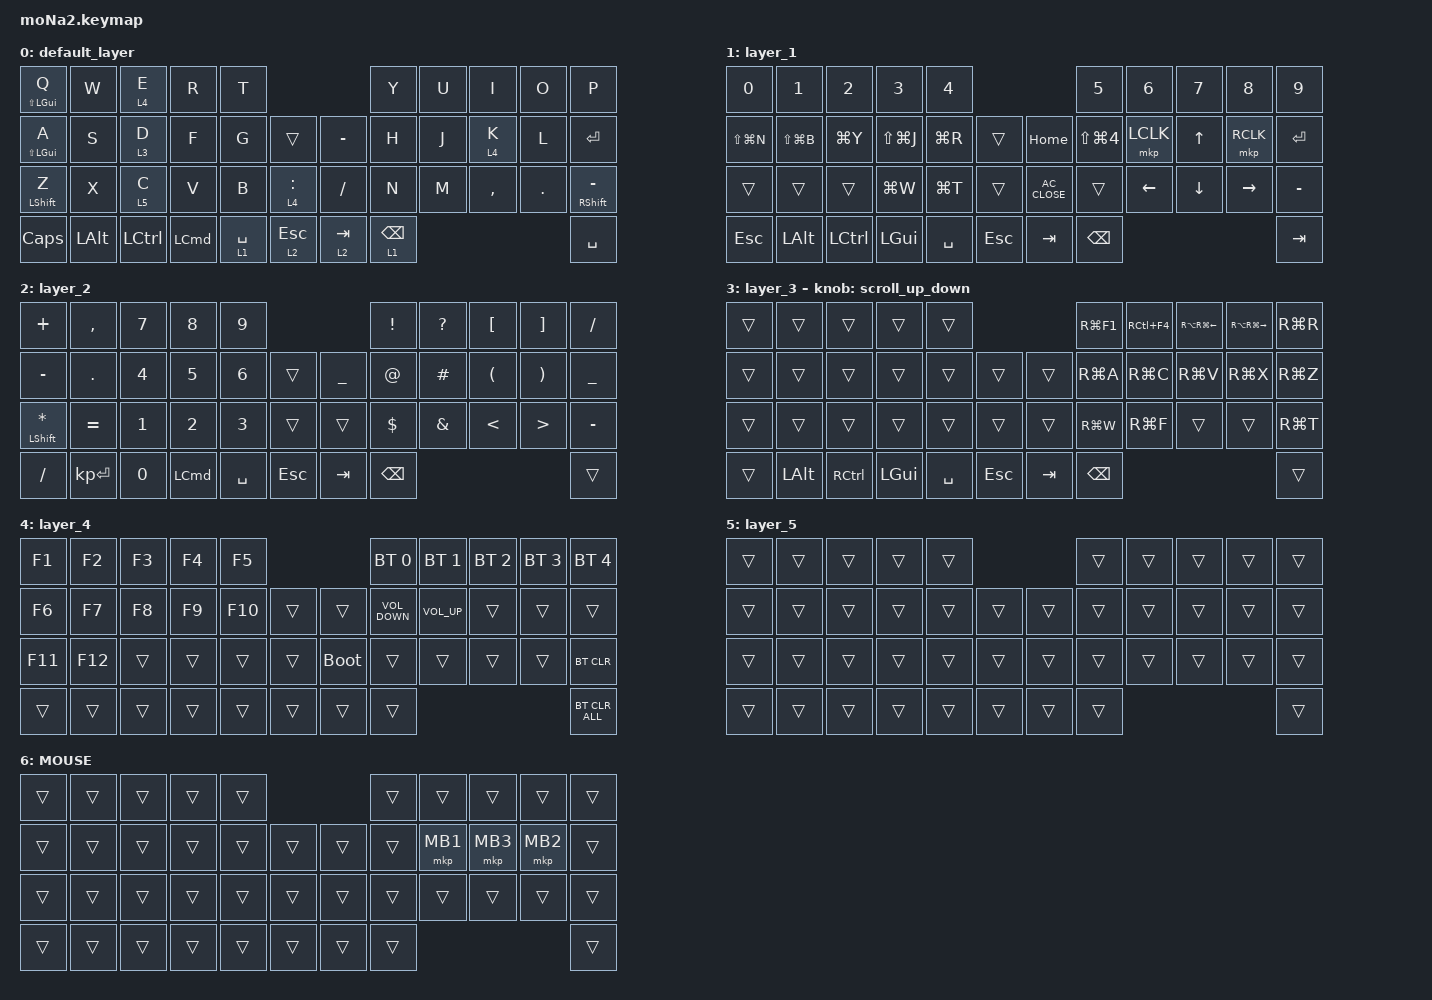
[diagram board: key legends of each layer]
#include <behaviors.dtsi>
#include <dt-bindings/zmk/bt.h>
#include <dt-bindings/zmk/keys.h>
#include <dt-bindings/zmk/pointing.h>

#define ZMK_POINTING_DEFAULT_SCRL_VAL 100
#define MOUSE 6

&mt {
    flavor = "balanced";
    quick-tap-ms = <0>;
};

/ {
    combos { compatible = "zmk,combos"; };

    macros {
        to_layer_0: to_layer_0 {
            compatible = "zmk,behavior-macro-one-param";
            #binding-cells = <1>;
            bindings = <&to 0 &macro_param_1to1 &kp MACRO_PLACEHOLDER>;
            label = "TO_LAYER_0";
        };
    };

    behaviors {
        lt_to_layer_0: lt_to_layer_0 {
            compatible = "zmk,behavior-hold-tap";
            label = "LAYER_TAP_TO_0";
            bindings = <&mo>, <&to_layer_0>;

            #binding-cells = <2>;
            tapping-term-ms = <200>;
        };

        scroll_up_down: behavior_sensor_rotate_mouse_wheel_up_down {
            compatible = "zmk,behavior-sensor-rotate";
            #sensor-binding-cells = <0>;
            bindings = <&msc SCRL_DOWN>, <&msc SCRL_UP>;

            tap-ms = <20>;
        };
    };

    keymap {
        compatible = "zmk,keymap";

        default_layer {
            bindings = <
&mt LS(LEFT_GUI) Q  &kp W         &lt 4 E             &kp R             &kp T                                              &kp Y            &kp U  &kp I               &kp O    &kp P
&mt LS(LEFT_GUI) A  &kp S         &lt_to_layer_0 3 D  &kp F             &kp G        &trans          &kp MINUS             &kp H            &kp J  &lt_to_layer_0 4 K  &kp L    &kp ENTER
&mt LEFT_SHIFT Z    &kp X         &lt_to_layer_0 5 C  &kp V             &kp B        &lt 4 COLON     &kp SLASH             &kp N            &kp M  &kp COMMA           &kp DOT  &mt RIGHT_SHIFT MINUS
&kp CLCK            &kp LEFT_ALT  &kp LEFT_CONTROL    &kp LEFT_COMMAND  &lt 1 SPACE  &lt 2 ESCAPE    &lt_to_layer_0 2 TAB  &lt 1 BACKSPACE                                      &kp SPACE
            >;
        };

        layer_1 {
            bindings = <
&kp NUMBER_0   &kp NUMBER_1   &kp NUMBER_2  &kp NUMBER_3   &kp NUMBER_4                                &kp NUMBER_5          &kp NUMBER_6  &kp NUMBER_7  &kp NUMBER_8  &kp NUMBER_9
&kp LS(LG(N))  &kp LS(LG(B))  &kp LG(Y)     &kp LS(LG(J))  &kp LG(R)     &trans        &kp HOME        &kp LS(LG(NUMBER_4))  &mkp LCLK     &kp UP        &mkp RCLK     &kp ENTER
&trans         &trans         &trans        &kp LG(W)      &kp LG(T)     &trans        &kp C_AC_CLOSE  &trans                &kp LEFT      &kp DOWN      &kp RIGHT     &kp MINUS
&kp ESC        &kp LEFT_ALT   &kp LCTRL     &kp LEFT_GUI   &kp SPACE     &kp ESCAPE    &kp TAB         &kp BACKSPACE                                                   &kp TAB
            >;
        };

        layer_2 {
            bindings = <
&kp PLUS                 &kp COMMA     &kp N7  &kp N8            &kp N9                                   &kp EXCLAMATION  &kp QUESTION   &kp LEFT_BRACKET      &kp RIGHT_BRACKET      &kp SLASH
&kp MINUS                &kp DOT       &kp N4  &kp N5            &kp N6     &trans        &kp UNDERSCORE  &kp AT_SIGN      &kp HASH       &kp LEFT_PARENTHESIS  &kp RIGHT_PARENTHESIS  &kp UNDERSCORE
&mt LEFT_SHIFT ASTERISK  &kp EQUAL     &kp N1  &kp N2            &kp N3     &trans        &trans          &kp DOLLAR       &kp AMPERSAND  &kp LESS_THAN         &kp GREATER_THAN       &kp MINUS
&kp SLASH                &kp KP_ENTER  &kp N0  &kp LEFT_COMMAND  &kp SPACE  &kp ESCAPE    &kp TAB         &kp BACKSPACE                                                                &trans
            >;
        };

        layer_3 {
            bindings = <
&trans  &trans        &trans     &trans        &trans                            &kp RG(F1)     &kp RC(F4)  &kp RA(RG(LEFT))  &kp RA(RG(RIGHT))  &kp RG(R)
&trans  &trans        &trans     &trans        &trans     &trans        &trans   &kp RG(A)      &kp RG(C)   &kp RG(V)         &kp RG(X)          &kp RG(Z)
&trans  &trans        &trans     &trans        &trans     &trans        &trans   &kp RG(W)      &kp RG(F)   &trans            &trans             &kp RG(T)
&trans  &kp LEFT_ALT  &kp RCTRL  &kp LEFT_GUI  &kp SPACE  &kp ESCAPE    &kp TAB  &kp BACKSPACE                                                   &trans
            >;

            sensor-bindings = <&scroll_up_down>; //
        };

        layer_4 {
            bindings = <
&kp F1   &kp F2   &kp F3  &kp F4  &kp F5                          &bt BT_SEL 0       &bt BT_SEL 1     &bt BT_SEL 2  &bt BT_SEL 3  &bt BT_SEL 4
&kp F6   &kp F7   &kp F8  &kp F9  &kp F10  &trans    &trans       &kp C_VOLUME_DOWN  &kp C_VOLUME_UP  &trans        &trans        &trans
&kp F11  &kp F12  &trans  &trans  &trans   &trans    &bootloader  &trans             &trans           &trans        &trans        &bt BT_CLR
&trans   &trans   &trans  &trans  &trans   &trans    &trans       &trans                                                          &bt BT_CLR_ALL
            >;
        };

        layer_5 {
            bindings = <
&trans  &trans  &trans  &trans  &trans                    &trans  &trans  &trans  &trans  &trans
&trans  &trans  &trans  &trans  &trans  &trans    &trans  &trans  &trans  &trans  &trans  &trans
&trans  &trans  &trans  &trans  &trans  &trans    &trans  &trans  &trans  &trans  &trans  &trans
&trans  &trans  &trans  &trans  &trans  &trans    &trans  &trans                          &trans
            >;
        };

        MOUSE {
            bindings = <
&trans  &trans  &trans  &trans  &trans                    &trans  &trans    &trans    &trans    &trans
&trans  &trans  &trans  &trans  &trans  &trans    &trans  &trans  &mkp MB1  &mkp MB3  &mkp MB2  &trans
&trans  &trans  &trans  &trans  &trans  &trans    &trans  &trans  &trans    &trans    &trans    &trans
&trans  &trans  &trans  &trans  &trans  &trans    &trans  &trans                                &trans
            >;
        };
    };
};
